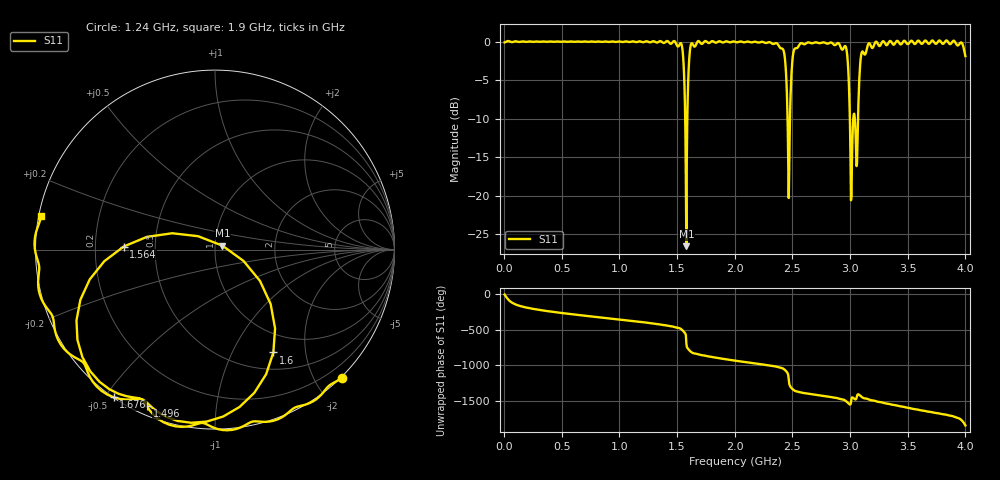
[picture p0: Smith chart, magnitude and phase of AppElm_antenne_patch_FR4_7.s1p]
! TOUCHSTONE file generated by CST MICROWAVE STUDIO
! Date and time: Tue Jun 14 13:48:55 2022
! Project name: AppElm_antenne_patch_FR4.cst
! Parameters = {L=45; W=58.5; e=0.035; h=1.6; lambda=0.190476; ls=120; w0=2.54; w1=0.847; ws=120; y0=18; y1=24.99}
! Header version: 2018
! Port assignment regex: !\s*Touchstone port\s*([0-9]+)\s*=\s*(CST MWS port|CST DS port)\s*([0-9]+|Zmin|Zmax)\s*\(\"(.*)\"\)(\s*mode\s*([0-9]+))?.*
! Touchstone port assignment:
! Touchstone port 1 = CST MWS port 1 ("")
# GHz S MA R 50
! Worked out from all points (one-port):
!   1000 points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, 4 MHz to 4 GHz, reference 50 ohm
!   lowest |S11| = -26.6 dB at 1.58 GHz (marker M1), VSWR 1.10, Z = 54.3 + j2.39 ohm
!   |S11| at or under -10 dB: 1.57 GHz to 1.588 GHz (18.48 MHz wide, 1.17 % of centre); 2.998 GHz to 3.028 GHz (29.91 MHz wide, 0.993 % of centre); 3.041 GHz to 3.069 GHz (27.97 MHz wide, 0.915 % of centre)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
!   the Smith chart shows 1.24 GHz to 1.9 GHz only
!   S11 on the Smith chart (normalised r, x): 1.24 GHz: -0.02, -2.40; 1.496 GHz: 0.04, -0.66; 1.564 GHz: 0.33, +0.02; 1.6 GHz: 0.72, -1.46; 1.676 GHz: 0.00, -0.53; 1.9 GHz: 0.01, +0.10
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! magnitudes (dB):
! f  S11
! 4 MHz  -0.1
! 504 MHz  0.0
! 1.004 GHz  0.0
! 1.24 GHz  0.0
! 1.496 GHz  -0.4
! 1.504 GHz  -0.6
! 1.544 GHz  -0.8
! 1.564 GHz  -5.9
! 1.58 GHz  -26.6
! 1.6 GHz  -3.6
! 1.62 GHz  -0.4
! 1.676 GHz  0.0
! 1.9 GHz  -0.1
! 2.004 GHz  0.0
! 2.408 GHz  -0.9
! 2.432 GHz  -1.8
! 2.468 GHz  -20.3
! 2.484 GHz  -7.0
! 2.504 GHz  -1.8
! 2.58 GHz  -0.2
! 2.952 GHz  -0.6
! 2.976 GHz  -1.9
! 3.004 GHz  -15.6
! 3.056 GHz  -16.2
! 3.092 GHz  -2.2
! 3.112 GHz  -1.3
! 3.504 GHz  -0.3
! 4 GHz  -1.9
